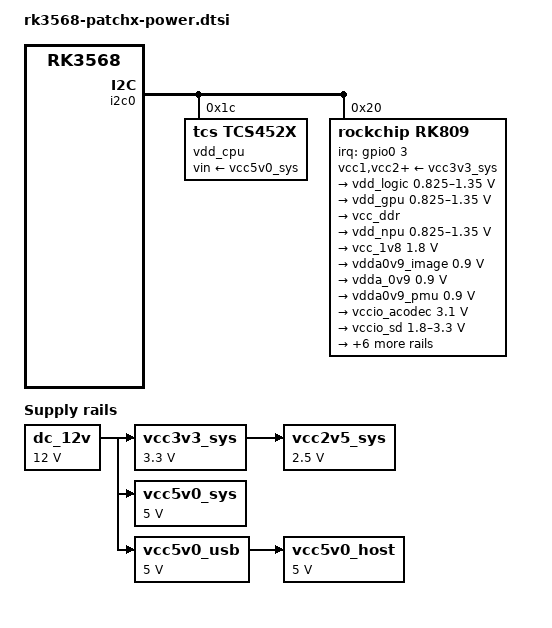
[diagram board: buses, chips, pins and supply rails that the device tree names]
// SPDX-License-Identifier: (GPL-2.0+ OR MIT)
/* Board supplies reconstructed from the original Android hardware description.
 * Labels resolve against Linux 5.10.160 rk3568.dtsi; no EVB carrier include.
 * regulator-init-microvolt is retained as evidence, not a guaranteed
 * startup voltage: the target FAN53555/RK808 drivers do not consume it.
 */

/ {
    dc_12v: dc-12v {
        compatible = "regulator-fixed";
        regulator-always-on;
        regulator-boot-on;
        regulator-max-microvolt = <12000000>;
        regulator-min-microvolt = <12000000>;
        regulator-name = "dc_12v";
    };

    vcc3v3_sys: vcc3v3-sys {
        compatible = "regulator-fixed";
        regulator-always-on;
        regulator-boot-on;
        regulator-max-microvolt = <3300000>;
        regulator-min-microvolt = <3300000>;
        regulator-name = "vcc3v3_sys";
        vin-supply = <&dc_12v>;
    };

    vcc5v0_sys: vcc5v0-sys {
        compatible = "regulator-fixed";
        regulator-always-on;
        regulator-boot-on;
        regulator-max-microvolt = <5000000>;
        regulator-min-microvolt = <5000000>;
        regulator-name = "vcc5v0_sys";
        vin-supply = <&dc_12v>;
    };

    vcc5v0_usb: vcc5v0-usb {
        compatible = "regulator-fixed";
        regulator-always-on;
        regulator-boot-on;
        regulator-max-microvolt = <5000000>;
        regulator-min-microvolt = <5000000>;
        regulator-name = "vcc5v0_usb";
        vin-supply = <&dc_12v>;
    };

    vcc5v0_host: vcc5v0-host-regulator {
        compatible = "regulator-fixed";
        enable-active-high;
        regulator-always-on;
        regulator-boot-on;
        regulator-max-microvolt = <5000000>;
        regulator-min-microvolt = <5000000>;
        regulator-name = "vcc5v0_host";
        vin-supply = <&vcc5v0_usb>;
    };

    vcc2v5_sys: vcc2v5-ddr {
        compatible = "regulator-fixed";
        regulator-always-on;
        regulator-boot-on;
        regulator-max-microvolt = <2500000>;
        regulator-min-microvolt = <2500000>;
        regulator-name = "vcc2v5-sys";
        vin-supply = <&vcc3v3_sys>;
    };

};

&i2c0 {
    status = "okay";

    vdd_cpu: tcs4525@1c {
        compatible = "tcs,tcs452x";
        fcs,suspend-voltage-selector = <1>;
        reg = <28>;
        regulator-always-on;
        regulator-boot-on;
        regulator-compatible = "fan53555-reg";
        regulator-init-microvolt = <1000000>;
        regulator-initial-mode = <1>;
        regulator-max-microvolt = <1390000>;
        regulator-min-microvolt = <712500>;
        regulator-name = "vdd_cpu";
        regulator-ramp-delay = <2300>;
        vin-supply = <&vcc5v0_sys>;
        regulator-state-mem {
            regulator-off-in-suspend;
        };
    };

    rk809: pmic@20 {
        #clock-cells = <1>;
        clock-output-names = "rk808-clkout1", "rk808-clkout2";
        compatible = "rockchip,rk809";
        interrupt-parent = <&gpio0>;
        interrupts = <3 8>;
        not-save-power-en = <1>;
        pinctrl-0 = <&pmic_int>;
        pinctrl-1 = <&soc_slppin_slp &rk817_slppin_slp>;
        pinctrl-2 = <&soc_slppin_gpio &rk817_slppin_pwrdn>;
        pinctrl-3 = <&soc_slppin_gpio &rk817_slppin_rst>;
        pinctrl-names = "default", "pmic-sleep", "pmic-power-off", "pmic-reset";
        pmic-reset-func = <0>;
        reg = <32>;
        rockchip,system-power-controller;
        vcc1-supply = <&vcc3v3_sys>;
        vcc2-supply = <&vcc3v3_sys>;
        vcc3-supply = <&vcc3v3_sys>;
        vcc4-supply = <&vcc3v3_sys>;
        vcc5-supply = <&vcc3v3_sys>;
        vcc6-supply = <&vcc3v3_sys>;
        vcc7-supply = <&vcc3v3_sys>;
        vcc8-supply = <&vcc3v3_sys>;
        vcc9-supply = <&vcc3v3_sys>;
        wakeup-source;
        pinctrl_rk8xx: pinctrl_rk8xx {
            #gpio-cells = <2>;
            gpio-controller;
            rk817_slppin_null: rk817_slppin_null {
                function = "pin_fun0";
                pins = "gpio_slp";
            };
            rk817_slppin_pwrdn: rk817_slppin_pwrdn {
                function = "pin_fun2";
                pins = "gpio_slp";
            };
            rk817_slppin_rst: rk817_slppin_rst {
                function = "pin_fun3";
                pins = "gpio_slp";
            };
            rk817_slppin_slp: rk817_slppin_slp {
                function = "pin_fun1";
                pins = "gpio_slp";
            };
        };
        pwrkey {
            status = "okay";
        };
        regulators {
            vdd_logic: DCDC_REG1 {
                regulator-always-on;
                regulator-boot-on;
                regulator-init-microvolt = <925000>;
                regulator-initial-mode = <2>;
                regulator-max-microvolt = <1350000>;
                regulator-min-microvolt = <825000>;
                regulator-name = "vdd_logic";
                regulator-ramp-delay = <6001>;
                regulator-state-mem {
                    regulator-off-in-suspend;
                };
            };
            vdd_gpu: DCDC_REG2 {
                regulator-always-on;
                regulator-boot-on;
                regulator-init-microvolt = <900000>;
                regulator-initial-mode = <2>;
                regulator-max-microvolt = <1350000>;
                regulator-min-microvolt = <825000>;
                regulator-name = "vdd_gpu";
                regulator-ramp-delay = <6001>;
                regulator-state-mem {
                    regulator-off-in-suspend;
                };
            };
            vcc_ddr: DCDC_REG3 {
                regulator-always-on;
                regulator-boot-on;
                regulator-initial-mode = <2>;
                regulator-name = "vcc_ddr";
                regulator-state-mem {
                    regulator-on-in-suspend;
                };
            };
            vdd_npu: DCDC_REG4 {
                regulator-always-on;
                regulator-boot-on;
                regulator-init-microvolt = <900000>;
                regulator-initial-mode = <2>;
                regulator-max-microvolt = <1350000>;
                regulator-min-microvolt = <825000>;
                regulator-name = "vdd_npu";
                regulator-ramp-delay = <6001>;
                regulator-state-mem {
                    regulator-off-in-suspend;
                };
            };
            vcc_1v8: DCDC_REG5 {
                regulator-always-on;
                regulator-boot-on;
                regulator-max-microvolt = <1800000>;
                regulator-min-microvolt = <1800000>;
                regulator-name = "vcc_1v8";
                regulator-state-mem {
                    regulator-off-in-suspend;
                };
            };
            vdda0v9_image: LDO_REG1 {
                regulator-always-on;
                regulator-boot-on;
                regulator-max-microvolt = <900000>;
                regulator-min-microvolt = <900000>;
                regulator-name = "vdda0v9_image";
                regulator-state-mem {
                    regulator-off-in-suspend;
                };
            };
            vdda_0v9: LDO_REG2 {
                regulator-always-on;
                regulator-boot-on;
                regulator-max-microvolt = <900000>;
                regulator-min-microvolt = <900000>;
                regulator-name = "vdda_0v9";
                regulator-state-mem {
                    regulator-off-in-suspend;
                };
            };
            vdda0v9_pmu: LDO_REG3 {
                regulator-always-on;
                regulator-boot-on;
                regulator-max-microvolt = <900000>;
                regulator-min-microvolt = <900000>;
                regulator-name = "vdda0v9_pmu";
                regulator-state-mem {
                    regulator-on-in-suspend;
                    regulator-suspend-microvolt = <900000>;
                };
            };
            vccio_acodec: LDO_REG4 {
                regulator-always-on;
                regulator-boot-on;
                regulator-max-microvolt = <3100000>;
                regulator-min-microvolt = <3100000>;
                regulator-name = "vccio_acodec";
                regulator-state-mem {
                    regulator-off-in-suspend;
                };
            };
            vccio_sd: LDO_REG5 {
                regulator-always-on;
                regulator-boot-on;
                regulator-max-microvolt = <3300000>;
                regulator-min-microvolt = <1800000>;
                regulator-name = "vccio_sd";
                regulator-state-mem {
                    regulator-off-in-suspend;
                };
            };
            vcc3v3_pmu: LDO_REG6 {
                regulator-always-on;
                regulator-boot-on;
                regulator-max-microvolt = <3300000>;
                regulator-min-microvolt = <3300000>;
                regulator-name = "vcc3v3_pmu";
                regulator-state-mem {
                    regulator-on-in-suspend;
                    regulator-suspend-microvolt = <3300000>;
                };
            };
            vcca_1v8: LDO_REG7 {
                regulator-always-on;
                regulator-boot-on;
                regulator-max-microvolt = <1800000>;
                regulator-min-microvolt = <1800000>;
                regulator-name = "vcca_1v8";
                regulator-state-mem {
                    regulator-off-in-suspend;
                };
            };
            vcca1v8_pmu: LDO_REG8 {
                regulator-always-on;
                regulator-boot-on;
                regulator-max-microvolt = <1800000>;
                regulator-min-microvolt = <1800000>;
                regulator-name = "vcca1v8_pmu";
                regulator-state-mem {
                    regulator-on-in-suspend;
                    regulator-suspend-microvolt = <1800000>;
                };
            };
            vcca1v8_image: LDO_REG9 {
                regulator-always-on;
                regulator-boot-on;
                regulator-max-microvolt = <1800000>;
                regulator-min-microvolt = <1800000>;
                regulator-name = "vcca1v8_image";
                regulator-state-mem {
                    regulator-off-in-suspend;
                };
            };
            vcc_3v3: SWITCH_REG1 {
                regulator-always-on;
                regulator-boot-on;
                regulator-name = "vcc_3v3";
                regulator-state-mem {
                    regulator-off-in-suspend;
                };
            };
            vcc3v3_sd: SWITCH_REG2 {
                regulator-always-on;
                regulator-boot-on;
                regulator-name = "vcc3v3_sd";
                regulator-state-mem {
                    regulator-off-in-suspend;
                };
            };
        };
    };
};

&pinctrl {
    pmic {
        pmic_int: pmic_int {
            rockchip,pins = <0 3 0 &pcfg_pull_up>;
        };
        soc_slppin_gpio: soc_slppin_gpio {
            rockchip,pins = <0 2 0 &pcfg_output_low_pull_down>;
        };
        soc_slppin_rst: soc_slppin_rst {
            rockchip,pins = <0 2 2 &pcfg_pull_none>;
        };
        soc_slppin_slp: soc_slppin_slp {
            rockchip,pins = <0 2 1 &pcfg_pull_up>;
        };
    };
};

&pmu_io_domains {
    pmuio2-supply = <&vcc3v3_pmu>;
    status = "okay";
    vccio1-supply = <&vccio_acodec>;
    vccio3-supply = <&vccio_sd>;
    vccio4-supply = <&vcc_1v8>;
    vccio5-supply = <&vcc_3v3>;
    vccio6-supply = <&vcc_1v8>;
    vccio7-supply = <&vcc_3v3>;
};

&cpu0 {
    cpu-supply = <&vdd_cpu>;
};
